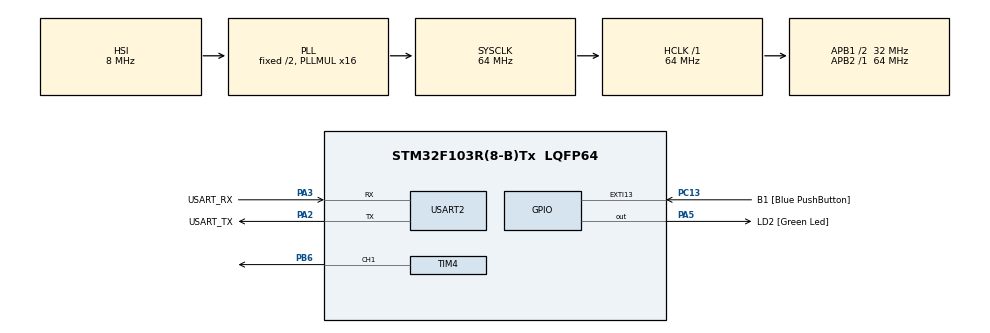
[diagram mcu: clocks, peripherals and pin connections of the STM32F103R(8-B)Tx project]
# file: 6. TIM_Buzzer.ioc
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Mcu.Family=STM32F1
Mcu.Name=STM32F103R(8-B)Tx
Mcu.Package=LQFP64
NVIC.EXTI15_10_IRQn=true\:0\:0\:false\:false\:true\:true\:true\:true
NVIC.PriorityGroup=NVIC_PRIORITYGROUP_4
PA13.GPIO_Label=TMS
PA13.Mode=Serial_Wire
PA13.Signal=SYS_JTMS-SWDIO
PA14.GPIO_Label=TCK
PA14.Mode=Serial_Wire
PA14.Signal=SYS_JTCK-SWCLK
PA2.GPIO_Label=USART_TX
PA2.GPIO_Mode=GPIO_MODE_AF_PP
PA2.GPIO_PuPd=GPIO_NOPULL
PA2.GPIO_Speed=GPIO_SPEED_FREQ_LOW
PA2.Mode=Asynchronous
PA2.Signal=USART2_TX
PA3.GPIO_Label=USART_RX
PA3.GPIO_Mode=GPIO_MODE_AF_PP
PA3.GPIO_PuPd=GPIO_NOPULL
PA3.GPIO_Speed=GPIO_SPEED_FREQ_LOW
PA3.Mode=Asynchronous
PA3.Signal=USART2_RX
PA5.GPIO_Label=LD2 [Green Led]
PA5.GPIO_ModeDefaultOutputPP=GPIO_MODE_OUTPUT_PP
PA5.GPIO_PuPd=GPIO_NOPULL
PA5.GPIO_Speed=GPIO_SPEED_FREQ_LOW
PA5.Signal=GPIO_Output
PB3.GPIO_Label=SWO
PB3.Signal=SYS_JTDO-TRACESWO
PB6.Signal=S_TIM4_CH1
PC13-TAMPER-RTC.GPIO_Label=B1 [Blue PushButton]
PC13-TAMPER-RTC.GPIO_PuPd=GPIO_NOPULL
PC13-TAMPER-RTC.Signal=GPXTI13
PC14-OSC32_IN.Signal=RCC_OSC32_IN
PC15-OSC32_OUT.Signal=RCC_OSC32_OUT
PD0-OSC_IN.Signal=RCC_OSC_IN
PD1-OSC_OUT.Signal=RCC_OSC_OUT
ProjectManager.HeapSize=0x200
ProjectManager.StackSize=0x400
ProjectManager.TargetToolchain=STM32CubeIDE
RCC.AHBFreq_Value=64000000
RCC.APB1CLKDivider=RCC_HCLK_DIV2
RCC.APB1Freq_Value=32000000
RCC.APB1TimFreq_Value=64000000
RCC.APB2Freq_Value=64000000
RCC.APB2TimFreq_Value=64000000
RCC.HCLKFreq_Value=64000000
RCC.PLLMUL=RCC_PLL_MUL16
RCC.RTCClockSelection=RCC_RTCCLKSOURCE_LSE
RCC.SYSCLKFreq_VALUE=64000000
RCC.SYSCLKSource=RCC_SYSCLKSOURCE_PLLCLK
RCC.USBFreq_Value=64000000
SH.S_TIM4_CH1.0=TIM4_CH1,PWM Generation1 CH1
TIM4.Channel-PWM\ Generation1\ CH1=TIM_CHANNEL_1
TIM4.Period=0
TIM4.Prescaler=63
USART2.VirtualMode=VM_ASYNC
VP_TIM4_VS_ClockSourceINT.Mode=Internal
board=NUCLEO-F103RB

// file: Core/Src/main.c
/* USER CODE BEGIN Header */
/**
  ******************************************************************************
  * @file           : main.c
  * @brief          : Main program body
  ******************************************************************************
  * @attention
  *
  * Copyright (c) 2025 STMicroelectronics.
  * All rights reserved.
  *
  * This software is licensed under terms that can be found in the LICENSE file
  * in the root directory of this software component.
  * If no LICENSE file comes with this software, it is provided AS-IS.
  *
  ******************************************************************************
  */
/* USER CODE END Header */
#include "main.h"

/* USER CODE BEGIN PD */

#define CNT_CLK 1000000

/* USER CODE END PD */

TIM_HandleTypeDef htim4;

UART_HandleTypeDef huart2;

/* USER CODE BEGIN PV */

enum notes {
    C0 = 1635,  CS0 = 1732,  D0 = 1835,  DS0 = 1945,  E0 = 2060,  F0 = 2183,  FS0 = 2310,  G0 = 2450,  GS0 = 2596,  A0 = 2750,  AS0 = 2914,  B0 = 3087,
    C1 = 3270,  CS1 = 3465,  D1 = 3671,  DS1 = 3889,  E1 = 4120,  F1 = 4365,  FS1 = 4620,  G1 = 4900,  GS1 = 5196,  A1 = 5500,  AS1 = 5827,  B1 = 6174,
    C2 = 6541,  CS2 = 6930,  D2 = 7342,  DS2 = 7778,  E2 = 8241,  F2 = 8731,  FS2 = 9240,  G2 = 9800,  GS2 = 10392,  A2 = 11000,  AS2 = 11654,  B2 = 12347,
    C3 = 13081,  CS3 = 13859,  D3 = 14683,  DS3 = 15556,  E3 = 16481,  F3 = 17461,  FS3 = 18500,  G3 = 19600,  GS3 = 20765,  A3 = 22000,  AS3 = 23308,  B3 = 24694,
    C4 = 26163,  CS4 = 27718,  D4 = 29366,  DS4 = 31113,  E4 = 32963,  F4 = 34923,  FS4 = 36999,  G4 = 39200,  GS4 = 41530,  A4 = 44000,  AS4 = 46616,  B4 = 49388,
    C5 = 52325,  CS5 = 55437,  D5 = 58733,  DS5 = 62225,  E5 = 65926,  F5 = 69846,  FS5 = 73999,  G5 = 78399,  GS5 = 83061,  A5 = 88000,  AS5 = 93233,  B5 = 98777,
    C6 = 104650,  CS6 = 110873,  D6 = 117466,  DS6 = 124451,  E6 = 131851,  F6 = 139691,  FS6 = 147998,  G6 = 156798,  GS6 = 166122,  A6 = 176000,  AS6 = 186466,  B6 = 197553,
    C7 = 209300,  CS7 = 221746,  D7 = 234932,  DS7 = 248902,  E7 = 263702,  F7 = 279383,  FS7 = 295996,  G7 = 313596,  GS7 = 332244,  A7 = 352000,  AS7 = 372931,  B7 = 395107,
    C8 = 418600,  CS8 = 443492,  D8 = 469864,  DS8 = 497803,  E8 = 527404,  F8 = 558765,  FS8 = 591992,  G8 = 627193,  GS8 = 664488,  A8 = 704000,  AS8 = 745862,  B8 = 790214
};

int melody[] = {E5, E5, E5, C5, E5, G5, G4,
		C5, G4, E4, A4, B4, AS4, A4,
		G4, E5, G5, A5, F5, G5, E5,
		C5, D5, B4};

/* USER CODE END PV */

void SystemClock_Config(void);
static void MX_GPIO_Init(void);
static void MX_USART2_UART_Init(void);
static void MX_TIM4_Init(void);

int main(void)
{

  /* MCU Configuration--------------------------------------------------------*/

  /* Reset of all peripherals, Initializes the Flash interface and the Systick. */
  HAL_Init();

  /* Configure the system clock */
  SystemClock_Config();

  /* Initialize all configured peripherals */
  MX_GPIO_Init();
  MX_USART2_UART_Init();
  MX_TIM4_Init();
  /* USER CODE BEGIN 2 */

  int freq;

  for (uint8_t i = 0; i < sizeof(melody) / sizeof(melody[0]); i++) {
	  freq = (int)(CNT_CLK / melody[i] * 100);
	  __HAL_TIM_SET_AUTORELOAD(&htim4, freq);
	  __HAL_TIM_SET_COMPARE(&htim4, TIM_CHANNEL_1, (int)(freq / 2));
	  HAL_TIM_PWM_Start(&htim4, TIM_CHANNEL_1);
	  HAL_Delay(160);

	  HAL_TIM_PWM_Stop(&htim4, TIM_CHANNEL_1);
	  HAL_Delay(10);
  }

  /* USER CODE END 2 */

  /* Infinite loop */
  while (1)
  {

  }
}

void SystemClock_Config(void)
{
  RCC_OscInitTypeDef RCC_OscInitStruct = {0};
  RCC_ClkInitTypeDef RCC_ClkInitStruct = {0};

  /** Initializes the RCC Oscillators according to the specified parameters
  * in the RCC_OscInitTypeDef structure.
  */
  RCC_OscInitStruct.OscillatorType = RCC_OSCILLATORTYPE_HSI;
  RCC_OscInitStruct.HSIState = RCC_HSI_ON;
  RCC_OscInitStruct.HSICalibrationValue = RCC_HSICALIBRATION_DEFAULT;
  RCC_OscInitStruct.PLL.PLLState = RCC_PLL_ON;
  RCC_OscInitStruct.PLL.PLLSource = RCC_PLLSOURCE_HSI_DIV2;
  RCC_OscInitStruct.PLL.PLLMUL = RCC_PLL_MUL16;
  if (HAL_RCC_OscConfig(&RCC_OscInitStruct) != HAL_OK)
  {
    Error_Handler();
  }

  /** Initializes the CPU, AHB and APB buses clocks
  */
  RCC_ClkInitStruct.ClockType = RCC_CLOCKTYPE_HCLK|RCC_CLOCKTYPE_SYSCLK
                              |RCC_CLOCKTYPE_PCLK1|RCC_CLOCKTYPE_PCLK2;
  RCC_ClkInitStruct.SYSCLKSource = RCC_SYSCLKSOURCE_PLLCLK;
  RCC_ClkInitStruct.AHBCLKDivider = RCC_SYSCLK_DIV1;
  RCC_ClkInitStruct.APB1CLKDivider = RCC_HCLK_DIV2;
  RCC_ClkInitStruct.APB2CLKDivider = RCC_HCLK_DIV1;

  if (HAL_RCC_ClockConfig(&RCC_ClkInitStruct, FLASH_LATENCY_2) != HAL_OK)
  {
    Error_Handler();
  }
}

static void MX_TIM4_Init(void)
{

  TIM_ClockConfigTypeDef sClockSourceConfig = {0};
  TIM_MasterConfigTypeDef sMasterConfig = {0};
  TIM_OC_InitTypeDef sConfigOC = {0};

  htim4.Instance = TIM4;
  htim4.Init.Prescaler = 63;
  htim4.Init.CounterMode = TIM_COUNTERMODE_UP;
  htim4.Init.Period = 0;
  htim4.Init.ClockDivision = TIM_CLOCKDIVISION_DIV1;
  htim4.Init.AutoReloadPreload = TIM_AUTORELOAD_PRELOAD_DISABLE;
  if (HAL_TIM_Base_Init(&htim4) != HAL_OK)
  {
    Error_Handler();
  }
  sClockSourceConfig.ClockSource = TIM_CLOCKSOURCE_INTERNAL;
  if (HAL_TIM_ConfigClockSource(&htim4, &sClockSourceConfig) != HAL_OK)
  {
    Error_Handler();
  }
  if (HAL_TIM_PWM_Init(&htim4) != HAL_OK)
  {
    Error_Handler();
  }
  sMasterConfig.MasterOutputTrigger = TIM_TRGO_RESET;
  sMasterConfig.MasterSlaveMode = TIM_MASTERSLAVEMODE_DISABLE;
  if (HAL_TIMEx_MasterConfigSynchronization(&htim4, &sMasterConfig) != HAL_OK)
  {
    Error_Handler();
  }
  sConfigOC.OCMode = TIM_OCMODE_PWM1;
  sConfigOC.Pulse = 0;
  sConfigOC.OCPolarity = TIM_OCPOLARITY_HIGH;
  sConfigOC.OCFastMode = TIM_OCFAST_DISABLE;
  if (HAL_TIM_PWM_ConfigChannel(&htim4, &sConfigOC, TIM_CHANNEL_1) != HAL_OK)
  {
    Error_Handler();
  }
  HAL_TIM_MspPostInit(&htim4);

}

static void MX_USART2_UART_Init(void)
{

  huart2.Instance = USART2;
  huart2.Init.BaudRate = 115200;
  huart2.Init.WordLength = UART_WORDLENGTH_8B;
  huart2.Init.StopBits = UART_STOPBITS_1;
  huart2.Init.Parity = UART_PARITY_NONE;
  huart2.Init.Mode = UART_MODE_TX_RX;
  huart2.Init.HwFlowCtl = UART_HWCONTROL_NONE;
  huart2.Init.OverSampling = UART_OVERSAMPLING_16;
  if (HAL_UART_Init(&huart2) != HAL_OK)
  {
    Error_Handler();
  }

}

static void MX_GPIO_Init(void)
{
  GPIO_InitTypeDef GPIO_InitStruct = {0};

  /* GPIO Ports Clock Enable */
  __HAL_RCC_GPIOC_CLK_ENABLE();
  __HAL_RCC_GPIOD_CLK_ENABLE();
  __HAL_RCC_GPIOA_CLK_ENABLE();
  __HAL_RCC_GPIOB_CLK_ENABLE();

  /*Configure GPIO pin Output Level */
  HAL_GPIO_WritePin(LD2_GPIO_Port, LD2_Pin, GPIO_PIN_RESET);

  /*Configure GPIO pin : B1_Pin */
  GPIO_InitStruct.Pin = B1_Pin;
  GPIO_InitStruct.Mode = GPIO_MODE_IT_RISING;
  GPIO_InitStruct.Pull = GPIO_NOPULL;
  HAL_GPIO_Init(B1_GPIO_Port, &GPIO_InitStruct);

  /*Configure GPIO pin : LD2_Pin */
  GPIO_InitStruct.Pin = LD2_Pin;
  GPIO_InitStruct.Mode = GPIO_MODE_OUTPUT_PP;
  GPIO_InitStruct.Pull = GPIO_NOPULL;
  GPIO_InitStruct.Speed = GPIO_SPEED_FREQ_LOW;
  HAL_GPIO_Init(LD2_GPIO_Port, &GPIO_InitStruct);

  /* EXTI interrupt init*/
  HAL_NVIC_SetPriority(EXTI15_10_IRQn, 0, 0);
  HAL_NVIC_EnableIRQ(EXTI15_10_IRQn);

}

void Error_Handler(void)
{
  __disable_irq();
  while (1)
  {
  }
}
